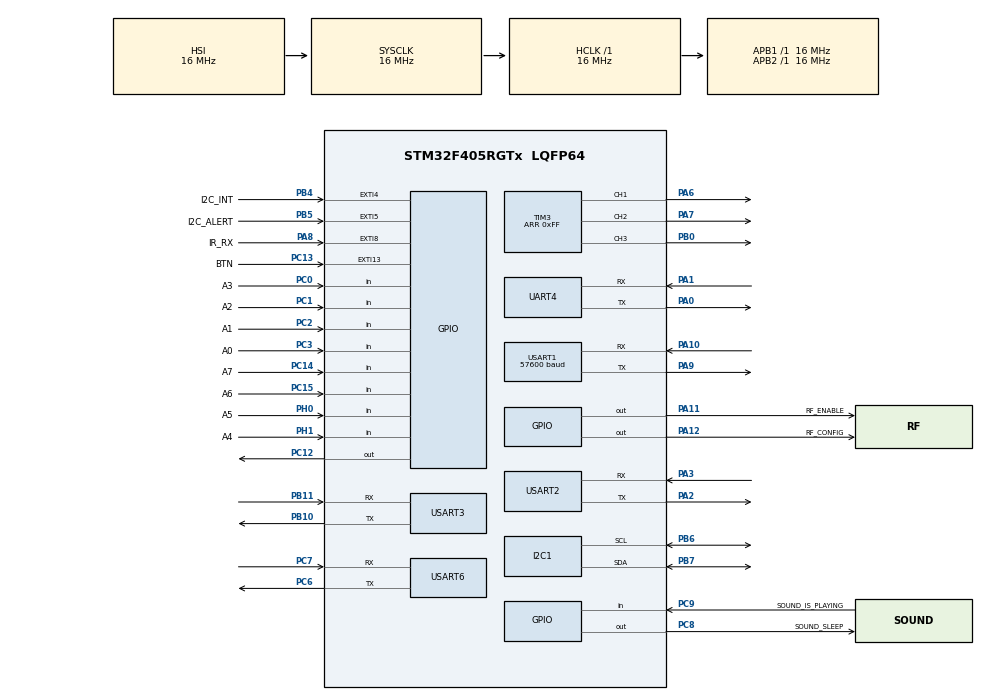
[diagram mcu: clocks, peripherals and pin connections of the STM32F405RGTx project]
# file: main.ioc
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Mcu.Family=STM32F4
Mcu.Name=STM32F405RGTx
Mcu.Package=LQFP64
NVIC.EXTI15_10_IRQn=true\:0\:0\:false\:false\:true\:true
NVIC.EXTI9_5_IRQn=true\:0\:0\:false\:false\:true\:true
NVIC.I2C1_EV_IRQn=true\:0\:0\:false\:false\:true\:true
NVIC.PriorityGroup=NVIC_PRIORITYGROUP_4
NVIC.TIM1_BRK_TIM9_IRQn=true\:0\:0\:false\:false\:true\:true
NVIC.TIM8_UP_TIM13_IRQn=true\:0\:0\:false\:false\:true\:true
NVIC.UART4_IRQn=true\:0\:0\:false\:false\:true\:true
NVIC.USART1_IRQn=true\:0\:0\:false\:false\:true\:true
NVIC.USART2_IRQn=true\:0\:0\:false\:false\:true\:true
NVIC.USART3_IRQn=true\:0\:0\:false\:false\:true\:true
NVIC.USART6_IRQn=true\:0\:0\:false\:false\:true\:true
PA0-WKUP.Mode=Asynchronous
PA0-WKUP.Signal=UART4_TX
PA1.Mode=Asynchronous
PA1.Signal=UART4_RX
PA10.Mode=Asynchronous
PA10.Signal=USART1_RX
PA11.GPIO_Label=RF_ENABLE
PA11.PinState=GPIO_PIN_SET
PA11.Signal=GPIO_Output
PA12.GPIO_Label=RF_CONFIG
PA12.PinState=GPIO_PIN_SET
PA12.Signal=GPIO_Output
PA13.Mode=Serial_Wire
PA13.Signal=SYS_JTMS-SWDIO
PA14.Mode=Serial_Wire
PA14.Signal=SYS_JTCK-SWCLK
PA2.Mode=Asynchronous
PA2.Signal=USART2_TX
PA3.Mode=Asynchronous
PA3.Signal=USART2_RX
PA6.Signal=S_TIM3_CH1
PA7.Signal=S_TIM3_CH2
PA8.GPIO_Label=IR_RX
PA8.GPIO_ModeDefaultEXTI=GPIO_MODE_IT_RISING_FALLING
PA8.GPIO_PuPd=GPIO_PULLUP
PA8.Signal=GPXTI8
PA9.Mode=Asynchronous
PA9.Signal=USART1_TX
PB0.Signal=S_TIM3_CH3
PB10.Mode=Asynchronous
PB10.Signal=USART3_TX
PB11.Mode=Asynchronous
PB11.Signal=USART3_RX
PB4.GPIO_Label=I2C_INT
PB4.Signal=GPXTI4
PB5.GPIO_Label=I2C_ALERT
PB5.Signal=GPXTI5
PB6.GPIO_PuPdOD=GPIO_NOPULL
PB6.GPIO_Speed=GPIO_SPEED_FREQ_HIGH
PB6.Mode=I2C
PB6.Signal=I2C1_SCL
PB7.GPIO_PuPdOD=GPIO_NOPULL
PB7.GPIO_Speed=GPIO_SPEED_FREQ_HIGH
PB7.Mode=I2C
PB7.Signal=I2C1_SDA
PC0.GPIO_Label=A3
PC0.GPIO_Mode=GPIO_MODE_INPUT
PC0.GPIO_PuPd=GPIO_PULLUP
PC0.Signal=GPIO_Input
PC1.GPIO_Label=A2
PC1.GPIO_Mode=GPIO_MODE_INPUT
PC1.GPIO_PuPd=GPIO_PULLUP
PC1.Signal=GPIO_Input
PC12.Signal=GPIO_Output
PC13-ANTI_TAMP.GPIO_Label=BTN
PC13-ANTI_TAMP.GPIO_ModeDefaultEXTI=GPIO_MODE_IT_FALLING
PC13-ANTI_TAMP.GPIO_PuPd=GPIO_PULLUP
PC13-ANTI_TAMP.Signal=GPXTI13
PC14-OSC32_IN.GPIO_Label=A7
PC14-OSC32_IN.GPIO_Mode=GPIO_MODE_INPUT
PC14-OSC32_IN.GPIO_PuPd=GPIO_PULLUP
PC14-OSC32_IN.Signal=GPIO_Input
PC15-OSC32_OUT.GPIO_Label=A6
PC15-OSC32_OUT.GPIO_Mode=GPIO_MODE_INPUT
PC15-OSC32_OUT.GPIO_PuPd=GPIO_PULLUP
PC15-OSC32_OUT.Signal=GPIO_Input
PC2.GPIO_Label=A1
PC2.GPIO_Mode=GPIO_MODE_INPUT
PC2.GPIO_PuPd=GPIO_PULLUP
PC2.Signal=GPIO_Input
PC3.GPIO_Label=A0
PC3.GPIO_Mode=GPIO_MODE_INPUT
PC3.GPIO_PuPd=GPIO_PULLUP
PC3.Signal=GPIO_Input
PC6.Mode=Asynchronous
PC6.Signal=USART6_TX
PC7.Mode=Asynchronous
PC7.Signal=USART6_RX
PC8.GPIO_Label=SOUND_SLEEP
PC8.Signal=GPIO_Output
PC9.GPIO_Label=SOUND_IS_PLAYING
PC9.Signal=GPIO_Input
PH0-OSC_IN.GPIO_Label=A5
PH0-OSC_IN.GPIO_Mode=GPIO_MODE_INPUT
PH0-OSC_IN.GPIO_PuPd=GPIO_PULLUP
PH0-OSC_IN.Signal=GPIO_Input
PH1-OSC_OUT.GPIO_Label=A4
PH1-OSC_OUT.GPIO_Mode=GPIO_MODE_INPUT
PH1-OSC_OUT.GPIO_PuPd=GPIO_PULLUP
PH1-OSC_OUT.Signal=GPIO_Input
ProjectManager.HeapSize=0x200
ProjectManager.StackSize=0x400
ProjectManager.TargetToolchain=Makefile
RCC.AHBFreq_Value=16000000
RCC.APB1Freq_Value=16000000
RCC.APB2Freq_Value=16000000
RCC.CortexFreq_Value=16000000
RCC.HSE_VALUE=25000000
RCC.HSI_VALUE=16000000
RCC.LSE_VALUE=32768
RCC.SYSCLKFreq_VALUE=16000000
RCC.VCOOutputFreq_Value=192000000
SH.S_TIM3_CH1.0=TIM3_CH1,PWM Generation1 CH1
SH.S_TIM3_CH2.0=TIM3_CH2,PWM Generation2 CH2
SH.S_TIM3_CH3.0=TIM3_CH3,PWM Generation3 CH3
TIM3.Channel-PWM\ Generation1\ CH1=TIM_CHANNEL_1
TIM3.Channel-PWM\ Generation2\ CH2=TIM_CHANNEL_2
TIM3.Channel-PWM\ Generation3\ CH3=TIM_CHANNEL_3
TIM3.Period=0xFF
TIM7.Period=0xFFFF
TIM7.Prescaler=15
TIM8.Period=2999
TIM8.Prescaler=15999
TIM9.Period=4999
TIM9.Prescaler=15999
UART4.VirtualMode=Asynchronous
USART1.BaudRate=57600
USART1.VirtualMode=VM_ASYNC
USART2.VirtualMode=VM_ASYNC
USART3.VirtualMode=VM_ASYNC
USART6.VirtualMode=VM_ASYNC
VP_TIM7_VS_ClockSourceINT.Mode=Enable_Timer
VP_TIM8_VS_ClockSourceINT.Mode=Internal
VP_TIM9_VS_ClockSourceINT.Mode=Internal
board=main

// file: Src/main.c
/**
 ******************************************************************************
 * @file           : main.c
 * @brief          : Main program body
 ******************************************************************************
 ** This notice applies to any and all portions of this file
 * that are not between comment pairs USER CODE BEGIN and
 * USER CODE END. Other portions of this file, whether
 * inserted by the user or by software development tools
 * are owned by their respective copyright owners.
 *
 * COPYRIGHT(c) 2018 STMicroelectronics
 *
 * Redistribution and use in source and binary forms, with or without modification,
 * are permitted provided that the following conditions are met:
 *   1. Redistributions of source code must retain the above copyright notice,
 *      this list of conditions and the following disclaimer.
 *   2. Redistributions in binary form must reproduce the above copyright notice,
 *      this list of conditions and the following disclaimer in the documentation
 *      and/or other materials provided with the distribution.
 *   3. Neither the name of STMicroelectronics nor the names of its contributors
 *      may be used to endorse or promote products derived from this software
 *      without specific prior written permission.
 *
 * THIS SOFTWARE IS PROVIDED BY THE COPYRIGHT HOLDERS AND CONTRIBUTORS "AS IS"
 * AND ANY EXPRESS OR IMPLIED WARRANTIES, INCLUDING, BUT NOT LIMITED TO, THE
 * IMPLIED WARRANTIES OF MERCHANTABILITY AND FITNESS FOR A PARTICULAR PURPOSE ARE
 * DISCLAIMED. IN NO EVENT SHALL THE COPYRIGHT HOLDER OR CONTRIBUTORS BE LIABLE
 * FOR ANY DIRECT, INDIRECT, INCIDENTAL, SPECIAL, EXEMPLARY, OR CONSEQUENTIAL
 * DAMAGES (INCLUDING, BUT NOT LIMITED TO, PROCUREMENT OF SUBSTITUTE GOODS OR
 * SERVICES; LOSS OF USE, DATA, OR PROFITS; OR BUSINESS INTERRUPTION) HOWEVER
 * CAUSED AND ON ANY THEORY OF LIABILITY, WHETHER IN CONTRACT, STRICT LIABILITY,
 * OR TORT (INCLUDING NEGLIGENCE OR OTHERWISE) ARISING IN ANY WAY OUT OF THE USE
 * OF THIS SOFTWARE, EVEN IF ADVISED OF THE POSSIBILITY OF SUCH DAMAGE.
 *
 ******************************************************************************
 */
#include "main.h"
#include "stm32f4xx_hal.h"

/* USER CODE BEGIN Includes */
#include "globals.hpp"
#include "gun.hpp"
/* USER CODE END Includes */

I2C_HandleTypeDef hi2c1;

TIM_HandleTypeDef htim3;
TIM_HandleTypeDef htim7;
TIM_HandleTypeDef htim8;
TIM_HandleTypeDef htim9;

UART_HandleTypeDef huart4;
UART_HandleTypeDef huart1;
UART_HandleTypeDef huart2;
UART_HandleTypeDef huart3;
UART_HandleTypeDef huart6;

/* USER CODE BEGIN PV */
/* Private variables ---------------------------------------------------------*/
/* USER CODE END PV */

void SystemClock_Config(void);
static void MX_GPIO_Init(void);
static void MX_I2C1_Init(void);
static void MX_TIM3_Init(void);
static void MX_UART4_Init(void);
static void MX_USART1_UART_Init(void);
static void MX_USART2_UART_Init(void);
static void MX_USART3_UART_Init(void);
static void MX_USART6_UART_Init(void);
static void MX_TIM8_Init(void);
static void MX_TIM7_Init(void);
static void MX_TIM9_Init(void);

void HAL_TIM_MspPostInit(TIM_HandleTypeDef *htim);

/* USER CODE BEGIN PFP */
/* Private function prototypes -----------------------------------------------*/

/* USER CODE END PFP */

int main(void)
{

    /* MCU Configuration----------------------------------------------------------*/

    /* Reset of all peripherals, Initializes the Flash interface and the Systick. */
    HAL_Init();

    /* Configure the system clock */
    SystemClock_Config();

    /* Initialize all configured peripherals */
    MX_GPIO_Init();
    MX_I2C1_Init();
    MX_TIM3_Init();
    MX_UART4_Init();
    MX_USART1_UART_Init();
    MX_USART2_UART_Init();
    MX_USART3_UART_Init();
    MX_USART6_UART_Init();
    MX_TIM8_Init();
    MX_TIM7_Init();
    MX_TIM9_Init();
    /* USER CODE BEGIN 2 */
    global->init();
    global->debug = new UART(&huart4);
    global->hmtrp = new HMTRP(&huart1, 57600, 0);
    global->gun   = new Gun(&huart2);
    global->radio_buffer_rx = new CircularBuffer;
    global->color_driver    = new ColorDriver(&htim3, TIM_CHANNEL_3, TIM_CHANNEL_2, TIM_CHANNEL_1);
    global->sound_player    = new SoundPlayer(&huart6);
    global->vest         = new Vest;
    global->player = new Player;
    global->battery      = new Battery(&hi2c1, &htim8);
    global->packet       = new Packet(global->vest->get_address());
    global->cmd_queue    = new CommandQueue;
    global->ir           = new IR(&htim7);
    global->timer_spirit = new Timer(&htim9);

    HAL_Delay(100);

    global->debug->tx("START\n");
    global->debug->tx("ADDRESS: " + to_string(global->vest->get_address()) + '\n');

    global->i2c_scan();
    // global->battery->start_tim();
    global->color_driver->rgb(0, 50, 0);
    global->sound_player->play_activated();

    global->sound_player->set_sound_set_cz();

    /*global->debug->tx("============== TEST ===============\n");
     * for (uint32_t cnt = 0; cnt < 200; cnt++)
     * {
     *  global->packet->create(global->radio_buffer_rx, vector_uint8_t_array(0, 0, 255));
     *  if (global->packet->find(global->radio_buffer_rx))
     *  {
     *      //global->debug->tx("size :" + to_string(global->packet->get_size()) + "\n");
     *      //global->debug->tx("start :" + to_string(global->packet->get_index_start()) + "\n");
     *      uint8_t r, g, b;
     *      r = global->packet->data[0];
     *      g = global->packet->data[1];
     *      b = global->packet->data[2];
     *      global->color_driver->rgb(r, g, b);
     *      global->debug->tx("rgb: " + to_string(r) + ", " + to_string(g) + ", " + to_string(b) + "\n");
     *      global->debug->tx("cnt :" + to_string(++cnt) + "\n");
     *      global->debug->tx("-----------------------------------------\n");
     *  }
     * }*/

    /*global->packet->data.clear();
     * global->packet->data.push_back(1);
     * global->packet->data.push_back(2);
     * global->packet->data.push_back(3);
     * global->packet->create();
     * global->hmtrp->tx(global->packet->stream);*/

    /* USER CODE END 2 */

    /* Infinite loop */
    while (1)
    {

    }
} /* main */

void SystemClock_Config(void)
{
    RCC_OscInitTypeDef RCC_OscInitStruct;
    RCC_ClkInitTypeDef RCC_ClkInitStruct;

    /**Configure the main internal regulator output voltage
     */
    __HAL_RCC_PWR_CLK_ENABLE();

    __HAL_PWR_VOLTAGESCALING_CONFIG(PWR_REGULATOR_VOLTAGE_SCALE1);

    /**Initializes the CPU, AHB and APB busses clocks
     */
    RCC_OscInitStruct.OscillatorType      = RCC_OSCILLATORTYPE_HSI;
    RCC_OscInitStruct.HSIState            = RCC_HSI_ON;
    RCC_OscInitStruct.HSICalibrationValue = 16;
    RCC_OscInitStruct.PLL.PLLState        = RCC_PLL_NONE;
    if (HAL_RCC_OscConfig(&RCC_OscInitStruct) != HAL_OK)
    {
        _Error_Handler(__FILE__, __LINE__);
    }

    /**Initializes the CPU, AHB and APB busses clocks
     */
    RCC_ClkInitStruct.ClockType = RCC_CLOCKTYPE_HCLK | RCC_CLOCKTYPE_SYSCLK
      | RCC_CLOCKTYPE_PCLK1 | RCC_CLOCKTYPE_PCLK2;
    RCC_ClkInitStruct.SYSCLKSource   = RCC_SYSCLKSOURCE_HSI;
    RCC_ClkInitStruct.AHBCLKDivider  = RCC_SYSCLK_DIV1;
    RCC_ClkInitStruct.APB1CLKDivider = RCC_HCLK_DIV1;
    RCC_ClkInitStruct.APB2CLKDivider = RCC_HCLK_DIV1;

    if (HAL_RCC_ClockConfig(&RCC_ClkInitStruct, FLASH_LATENCY_0) != HAL_OK)
    {
        _Error_Handler(__FILE__, __LINE__);
    }

    /**Configure the Systick interrupt time
     */
    HAL_SYSTICK_Config(HAL_RCC_GetHCLKFreq() / 1000);

    /**Configure the Systick
     */
    HAL_SYSTICK_CLKSourceConfig(SYSTICK_CLKSOURCE_HCLK);

    /* SysTick_IRQn interrupt configuration */
    HAL_NVIC_SetPriority(SysTick_IRQn, 0, 0);
} /* SystemClock_Config */

/* I2C1 init function */
static void MX_I2C1_Init(void)
{
    hi2c1.Instance             = I2C1;
    hi2c1.Init.ClockSpeed      = 100000;
    hi2c1.Init.DutyCycle       = I2C_DUTYCYCLE_2;
    hi2c1.Init.OwnAddress1     = 0;
    hi2c1.Init.AddressingMode  = I2C_ADDRESSINGMODE_7BIT;
    hi2c1.Init.DualAddressMode = I2C_DUALADDRESS_DISABLE;
    hi2c1.Init.OwnAddress2     = 0;
    hi2c1.Init.GeneralCallMode = I2C_GENERALCALL_DISABLE;
    hi2c1.Init.NoStretchMode   = I2C_NOSTRETCH_DISABLE;
    if (HAL_I2C_Init(&hi2c1) != HAL_OK)
    {
        _Error_Handler(__FILE__, __LINE__);
    }
}

/* TIM3 init function */
static void MX_TIM3_Init(void)
{
    TIM_MasterConfigTypeDef sMasterConfig;
    TIM_OC_InitTypeDef sConfigOC;

    htim3.Instance           = TIM3;
    htim3.Init.Prescaler     = 0;
    htim3.Init.CounterMode   = TIM_COUNTERMODE_UP;
    htim3.Init.Period        = 0xFF;
    htim3.Init.ClockDivision = TIM_CLOCKDIVISION_DIV1;
    if (HAL_TIM_PWM_Init(&htim3) != HAL_OK)
    {
        _Error_Handler(__FILE__, __LINE__);
    }

    sMasterConfig.MasterOutputTrigger = TIM_TRGO_RESET;
    sMasterConfig.MasterSlaveMode     = TIM_MASTERSLAVEMODE_DISABLE;
    if (HAL_TIMEx_MasterConfigSynchronization(&htim3, &sMasterConfig) != HAL_OK)
    {
        _Error_Handler(__FILE__, __LINE__);
    }

    sConfigOC.OCMode     = TIM_OCMODE_PWM1;
    sConfigOC.Pulse      = 0;
    sConfigOC.OCPolarity = TIM_OCPOLARITY_HIGH;
    sConfigOC.OCFastMode = TIM_OCFAST_DISABLE;
    if (HAL_TIM_PWM_ConfigChannel(&htim3, &sConfigOC, TIM_CHANNEL_1) != HAL_OK)
    {
        _Error_Handler(__FILE__, __LINE__);
    }

    if (HAL_TIM_PWM_ConfigChannel(&htim3, &sConfigOC, TIM_CHANNEL_2) != HAL_OK)
    {
        _Error_Handler(__FILE__, __LINE__);
    }

    if (HAL_TIM_PWM_ConfigChannel(&htim3, &sConfigOC, TIM_CHANNEL_3) != HAL_OK)
    {
        _Error_Handler(__FILE__, __LINE__);
    }

    HAL_TIM_MspPostInit(&htim3);
} /* MX_TIM3_Init */

/* TIM7 init function */
static void MX_TIM7_Init(void)
{
    TIM_MasterConfigTypeDef sMasterConfig;

    htim7.Instance         = TIM7;
    htim7.Init.Prescaler   = 15;
    htim7.Init.CounterMode = TIM_COUNTERMODE_UP;
    htim7.Init.Period      = 0xFFFF;
    if (HAL_TIM_Base_Init(&htim7) != HAL_OK)
    {
        _Error_Handler(__FILE__, __LINE__);
    }

    sMasterConfig.MasterOutputTrigger = TIM_TRGO_RESET;
    sMasterConfig.MasterSlaveMode     = TIM_MASTERSLAVEMODE_DISABLE;
    if (HAL_TIMEx_MasterConfigSynchronization(&htim7, &sMasterConfig) != HAL_OK)
    {
        _Error_Handler(__FILE__, __LINE__);
    }
}

/* TIM8 init function */
static void MX_TIM8_Init(void)
{
    TIM_ClockConfigTypeDef sClockSourceConfig;
    TIM_MasterConfigTypeDef sMasterConfig;

    htim8.Instance               = TIM8;
    htim8.Init.Prescaler         = 15999;
    htim8.Init.CounterMode       = TIM_COUNTERMODE_UP;
    htim8.Init.Period            = 2999;
    htim8.Init.ClockDivision     = TIM_CLOCKDIVISION_DIV1;
    htim8.Init.RepetitionCounter = 0;
    if (HAL_TIM_Base_Init(&htim8) != HAL_OK)
    {
        _Error_Handler(__FILE__, __LINE__);
    }

    sClockSourceConfig.ClockSource = TIM_CLOCKSOURCE_INTERNAL;
    if (HAL_TIM_ConfigClockSource(&htim8, &sClockSourceConfig) != HAL_OK)
    {
        _Error_Handler(__FILE__, __LINE__);
    }

    sMasterConfig.MasterOutputTrigger = TIM_TRGO_RESET;
    sMasterConfig.MasterSlaveMode     = TIM_MASTERSLAVEMODE_DISABLE;
    if (HAL_TIMEx_MasterConfigSynchronization(&htim8, &sMasterConfig) != HAL_OK)
    {
        _Error_Handler(__FILE__, __LINE__);
    }
}

/* TIM9 init function */
static void MX_TIM9_Init(void)
{
    TIM_ClockConfigTypeDef sClockSourceConfig;

    htim9.Instance           = TIM9;
    htim9.Init.Prescaler     = 15999;
    htim9.Init.CounterMode   = TIM_COUNTERMODE_UP;
    htim9.Init.Period        = 4999;
    htim9.Init.ClockDivision = TIM_CLOCKDIVISION_DIV1;
    if (HAL_TIM_Base_Init(&htim9) != HAL_OK)
    {
        _Error_Handler(__FILE__, __LINE__);
    }

    sClockSourceConfig.ClockSource = TIM_CLOCKSOURCE_INTERNAL;
    if (HAL_TIM_ConfigClockSource(&htim9, &sClockSourceConfig) != HAL_OK)
    {
        _Error_Handler(__FILE__, __LINE__);
    }
}

/* UART4 init function */
static void MX_UART4_Init(void)
{
    huart4.Instance          = UART4;
    huart4.Init.BaudRate     = 115200;
    huart4.Init.WordLength   = UART_WORDLENGTH_8B;
    huart4.Init.StopBits     = UART_STOPBITS_1;
    huart4.Init.Parity       = UART_PARITY_NONE;
    huart4.Init.Mode         = UART_MODE_TX_RX;
    huart4.Init.HwFlowCtl    = UART_HWCONTROL_NONE;
    huart4.Init.OverSampling = UART_OVERSAMPLING_16;
    if (HAL_UART_Init(&huart4) != HAL_OK)
    {
        _Error_Handler(__FILE__, __LINE__);
    }
}

/* USART1 init function */
static void MX_USART1_UART_Init(void)
{
    huart1.Instance          = USART1;
    huart1.Init.BaudRate     = 57600;
    huart1.Init.WordLength   = UART_WORDLENGTH_8B;
    huart1.Init.StopBits     = UART_STOPBITS_1;
    huart1.Init.Parity       = UART_PARITY_NONE;
    huart1.Init.Mode         = UART_MODE_TX_RX;
    huart1.Init.HwFlowCtl    = UART_HWCONTROL_NONE;
    huart1.Init.OverSampling = UART_OVERSAMPLING_16;
    if (HAL_UART_Init(&huart1) != HAL_OK)
    {
        _Error_Handler(__FILE__, __LINE__);
    }
}

/* USART2 init function */
static void MX_USART2_UART_Init(void)
{
    huart2.Instance          = USART2;
    huart2.Init.BaudRate     = 115200;
    huart2.Init.WordLength   = UART_WORDLENGTH_8B;
    huart2.Init.StopBits     = UART_STOPBITS_1;
    huart2.Init.Parity       = UART_PARITY_NONE;
    huart2.Init.Mode         = UART_MODE_TX_RX;
    huart2.Init.HwFlowCtl    = UART_HWCONTROL_NONE;
    huart2.Init.OverSampling = UART_OVERSAMPLING_16;
    if (HAL_UART_Init(&huart2) != HAL_OK)
    {
        _Error_Handler(__FILE__, __LINE__);
    }
}

/* USART3 init function */
static void MX_USART3_UART_Init(void)
{
    huart3.Instance          = USART3;
    huart3.Init.BaudRate     = 115200;
    huart3.Init.WordLength   = UART_WORDLENGTH_8B;
    huart3.Init.StopBits     = UART_STOPBITS_1;
    huart3.Init.Parity       = UART_PARITY_NONE;
    huart3.Init.Mode         = UART_MODE_TX_RX;
    huart3.Init.HwFlowCtl    = UART_HWCONTROL_NONE;
    huart3.Init.OverSampling = UART_OVERSAMPLING_16;
    if (HAL_UART_Init(&huart3) != HAL_OK)
    {
        _Error_Handler(__FILE__, __LINE__);
    }
}

/* USART6 init function */
static void MX_USART6_UART_Init(void)
{
    huart6.Instance          = USART6;
    huart6.Init.BaudRate     = 115200;
    huart6.Init.WordLength   = UART_WORDLENGTH_8B;
    huart6.Init.StopBits     = UART_STOPBITS_1;
    huart6.Init.Parity       = UART_PARITY_NONE;
    huart6.Init.Mode         = UART_MODE_TX_RX;
    huart6.Init.HwFlowCtl    = UART_HWCONTROL_NONE;
    huart6.Init.OverSampling = UART_OVERSAMPLING_16;
    if (HAL_UART_Init(&huart6) != HAL_OK)
    {
        _Error_Handler(__FILE__, __LINE__);
    }
}

/** Configure pins as
 * Analog
 * Input
 * Output
 * EVENT_OUT
 * EXTI
 */
static void MX_GPIO_Init(void)
{
    GPIO_InitTypeDef GPIO_InitStruct;

    /* GPIO Ports Clock Enable */
    __HAL_RCC_GPIOC_CLK_ENABLE();
    __HAL_RCC_GPIOH_CLK_ENABLE();
    __HAL_RCC_GPIOA_CLK_ENABLE();
    __HAL_RCC_GPIOB_CLK_ENABLE();

    /*Configure GPIO pin Output Level */
    HAL_GPIO_WritePin(GPIOC, SOUND_SLEEP_Pin | GPIO_PIN_12, GPIO_PIN_RESET);

    /*Configure GPIO pin Output Level */
    HAL_GPIO_WritePin(GPIOA, RF_ENABLE_Pin | RF_CONFIG_Pin, GPIO_PIN_SET);

    /*Configure GPIO pin : BTN_Pin */
    GPIO_InitStruct.Pin  = BTN_Pin;
    GPIO_InitStruct.Mode = GPIO_MODE_IT_FALLING;
    GPIO_InitStruct.Pull = GPIO_PULLUP;
    HAL_GPIO_Init(BTN_GPIO_Port, &GPIO_InitStruct);

    /*Configure GPIO pins : A7_Pin A6_Pin A3_Pin A2_Pin
     *                       A1_Pin A0_Pin */
    GPIO_InitStruct.Pin = A7_Pin | A6_Pin | A3_Pin | A2_Pin
      | A1_Pin | A0_Pin;
    GPIO_InitStruct.Mode = GPIO_MODE_INPUT;
    GPIO_InitStruct.Pull = GPIO_PULLUP;
    HAL_GPIO_Init(GPIOC, &GPIO_InitStruct);

    /*Configure GPIO pins : A5_Pin A4_Pin */
    GPIO_InitStruct.Pin  = A5_Pin | A4_Pin;
    GPIO_InitStruct.Mode = GPIO_MODE_INPUT;
    GPIO_InitStruct.Pull = GPIO_PULLUP;
    HAL_GPIO_Init(GPIOH, &GPIO_InitStruct);

    /*Configure GPIO pins : SOUND_SLEEP_Pin PC12 */
    GPIO_InitStruct.Pin   = SOUND_SLEEP_Pin | GPIO_PIN_12;
    GPIO_InitStruct.Mode  = GPIO_MODE_OUTPUT_PP;
    GPIO_InitStruct.Pull  = GPIO_NOPULL;
    GPIO_InitStruct.Speed = GPIO_SPEED_FREQ_LOW;
    HAL_GPIO_Init(GPIOC, &GPIO_InitStruct);

    /*Configure GPIO pin : SOUND_IS_PLAYING_Pin */
    GPIO_InitStruct.Pin  = SOUND_IS_PLAYING_Pin;
    GPIO_InitStruct.Mode = GPIO_MODE_INPUT;
    GPIO_InitStruct.Pull = GPIO_NOPULL;
    HAL_GPIO_Init(SOUND_IS_PLAYING_GPIO_Port, &GPIO_InitStruct);

    /*Configure GPIO pin : IR_RX_Pin */
    GPIO_InitStruct.Pin  = IR_RX_Pin;
    GPIO_InitStruct.Mode = GPIO_MODE_IT_RISING_FALLING;
    GPIO_InitStruct.Pull = GPIO_PULLUP;
    HAL_GPIO_Init(IR_RX_GPIO_Port, &GPIO_InitStruct);

    /*Configure GPIO pins : RF_ENABLE_Pin RF_CONFIG_Pin */
    GPIO_InitStruct.Pin   = RF_ENABLE_Pin | RF_CONFIG_Pin;
    GPIO_InitStruct.Mode  = GPIO_MODE_OUTPUT_PP;
    GPIO_InitStruct.Pull  = GPIO_NOPULL;
    GPIO_InitStruct.Speed = GPIO_SPEED_FREQ_LOW;
    HAL_GPIO_Init(GPIOA, &GPIO_InitStruct);

    /*Configure GPIO pins : I2C_INT_Pin I2C_ALERT_Pin */
    GPIO_InitStruct.Pin  = I2C_INT_Pin | I2C_ALERT_Pin;
    GPIO_InitStruct.Mode = GPIO_MODE_IT_RISING;
    GPIO_InitStruct.Pull = GPIO_NOPULL;
    HAL_GPIO_Init(GPIOB, &GPIO_InitStruct);

    /* EXTI interrupt init*/
    HAL_NVIC_SetPriority(EXTI9_5_IRQn, 0, 0);
    HAL_NVIC_EnableIRQ(EXTI9_5_IRQn);

    HAL_NVIC_SetPriority(EXTI15_10_IRQn, 0, 0);
    HAL_NVIC_EnableIRQ(EXTI15_10_IRQn);
} /* MX_GPIO_Init */

void _Error_Handler(char *file, int line)
{
    /* USER CODE BEGIN Error_Handler_Debug */
    /* User can add his own implementation to report the HAL error return state */
    while (1)
    {
        global->debug->tx("========== error hendler ==========\n");
        global->debug->tx("file: " + string(file) + '\n');
        global->debug->tx("line: " + to_string(line) + '\n');
        global->debug->tx("===================================\n");
    }
    /* USER CODE END Error_Handler_Debug */
}

#ifdef  USE_FULL_ASSERT

/**
 * @brief  Reports the name of the source file and the source line number
 *         where the assert_param error has occurred.
 * @param  file: pointer to the source file name
 * @param  line: assert_param error line source number
 * @retval None
 */
void assert_failed(uint8_t *file, uint32_t line)
{
    /* USER CODE BEGIN 6 */

    /* User can add his own implementation to report the file name and line number,
     * tex: printf("Wrong parameters value: file %s on line %d\r\n", file, line) */
    /* USER CODE END 6 */
}

#endif /* USE_FULL_ASSERT */

/************************ (C) COPYRIGHT STMicroelectronics *****END OF FILE****/
